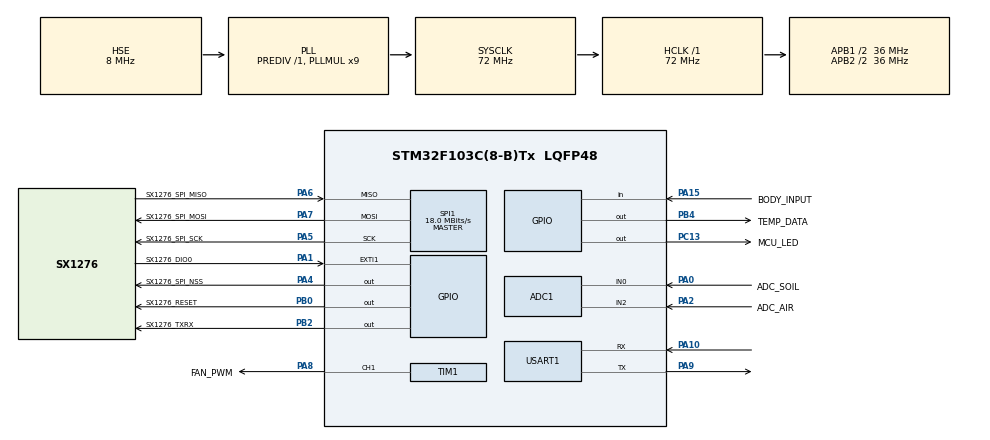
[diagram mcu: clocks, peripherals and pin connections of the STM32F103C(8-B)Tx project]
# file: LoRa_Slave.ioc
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ADC1.Channel-0\#ChannelRegularConversion=ADC_CHANNEL_0
ADC1.Channel-1\#ChannelRegularConversion=ADC_CHANNEL_2
ADC1.ContinuousConvMode=DISABLE
ADC1.DiscontinuousConvMode=ENABLE
ADC1.NbrOfConversion=2
ADC1.NbrOfConversionFlag=1
ADC1.Rank-0\#ChannelRegularConversion=1
ADC1.Rank-1\#ChannelRegularConversion=2
ADC1.SamplingTime-0\#ChannelRegularConversion=ADC_SAMPLETIME_1CYCLE_5
ADC1.SamplingTime-1\#ChannelRegularConversion=ADC_SAMPLETIME_1CYCLE_5
ADC1.master=1
Mcu.Family=STM32F1
Mcu.Name=STM32F103C(8-B)Tx
Mcu.Package=LQFP48
NVIC.EXTI1_IRQn=true\:0\:0\:false\:false\:true\:true\:true
NVIC.PriorityGroup=NVIC_PRIORITYGROUP_4
NVIC.USART1_IRQn=true\:1\:0\:true\:false\:true\:true\:true
PA0-WKUP.GPIO_Label=ADC_SOIL
PA0-WKUP.Signal=ADCx_IN0
PA1.GPIO_Label=SX1276_DIO0
PA1.Signal=GPXTI1
PA10.Mode=Asynchronous
PA10.Signal=USART1_RX
PA15.GPIO_Label=BODY_INPUT
PA15.Signal=GPIO_Input
PA2.GPIO_Label=ADC_AIR
PA2.Signal=ADCx_IN2
PA4.GPIO_Label=SX1276_SPI_NSS
PA4.Signal=GPIO_Output
PA5.GPIO_Label=SX1276_SPI_SCK
PA5.Mode=Full_Duplex_Master
PA5.Signal=SPI1_SCK
PA6.GPIO_Label=SX1276_SPI_MISO
PA6.Mode=Full_Duplex_Master
PA6.Signal=SPI1_MISO
PA7.GPIO_Label=SX1276_SPI_MOSI
PA7.Mode=Full_Duplex_Master
PA7.Signal=SPI1_MOSI
PA8.GPIO_Label=FAN_PWM
PA8.Signal=S_TIM1_CH1
PA9.Mode=Asynchronous
PA9.Signal=USART1_TX
PB0.GPIO_Label=SX1276_RESET
PB0.Signal=GPIO_Output
PB2.GPIO_Label=SX1276_TXRX
PB2.Signal=GPIO_Output
PB4.GPIO_Label=TEMP_DATA
PB4.Signal=GPIO_Output
PC13-TAMPER-RTC.GPIO_Label=MCU_LED
PC13-TAMPER-RTC.Signal=GPIO_Output
PD0-OSC_IN.Mode=HSE-External-Oscillator
PD0-OSC_IN.Signal=RCC_OSC_IN
PD1-OSC_OUT.Mode=HSE-External-Oscillator
PD1-OSC_OUT.Signal=RCC_OSC_OUT
ProjectManager.HeapSize=0x200
ProjectManager.StackSize=0x400
ProjectManager.TargetToolchain=MDK-ARM V5
RCC.ADCPresc=RCC_ADCPCLK2_DIV4
RCC.AHBFreq_Value=72000000
RCC.APB1CLKDivider=RCC_HCLK_DIV2
RCC.APB1Freq_Value=36000000
RCC.APB1TimFreq_Value=72000000
RCC.APB2CLKDivider=RCC_HCLK_DIV2
RCC.APB2Freq_Value=36000000
RCC.APB2TimFreq_Value=72000000
RCC.HCLKFreq_Value=72000000
RCC.PLLMUL=RCC_PLL_MUL9
RCC.PLLSourceVirtual=RCC_PLLSOURCE_HSE
RCC.SYSCLKFreq_VALUE=72000000
RCC.SYSCLKSource=RCC_SYSCLKSOURCE_PLLCLK
RCC.USBFreq_Value=72000000
SH.ADCx_IN0.0=ADC1_IN0,IN0
SH.ADCx_IN2.0=ADC1_IN2,IN2
SH.S_TIM1_CH1.0=TIM1_CH1,PWM Generation1 CH1
SPI1.BaudRatePrescaler=SPI_BAUDRATEPRESCALER_2
SPI1.CalculateBaudRate=18.0 MBits/s
SPI1.Direction=SPI_DIRECTION_2LINES
SPI1.Mode=SPI_MODE_MASTER
SPI1.VirtualType=VM_MASTER
TIM1.AutoReloadPreload=TIM_AUTORELOAD_PRELOAD_ENABLE
TIM1.Channel-PWM\ Generation1\ CH1=TIM_CHANNEL_1
TIM1.Period=499
TIM1.Prescaler=71
USART1.VirtualMode=VM_ASYNC
VP_SYS_VS_ND.Mode=No_Debug
VP_TIM1_VS_ClockSourceINT.Mode=Internal
board=custom

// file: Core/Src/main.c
/* USER CODE BEGIN Header */
/**
  ******************************************************************************
  * @file           : main.c
  * @brief          : Main program body
  ******************************************************************************
  * @attention
  *
  * <h2><center>&copy; Copyright (c) 2021 STMicroelectronics.
  * All rights reserved.</center></h2>
  *
  * This software component is licensed by ST under BSD 3-Clause license,
  * the "License"; You may not use this file except in compliance with the
  * License. You may obtain a copy of the License at:
  *                        opensource.org/licenses/BSD-3-Clause
  *
  ******************************************************************************
  */
/* USER CODE END Header */
#include "main.h"
#include "adc.h"
#include "spi.h"
#include "tim.h"
#include "usart.h"
#include "gpio.h"

/* USER CODE BEGIN Includes */
#include "stask.h"
#include "base_usart.h"
#include "sx1276_user.h"
#include "sx1276.h"
#include "stdio.h"
#include "Temperature.h"
/* USER CODE END Includes */

void SystemClock_Config(void);

int main(void)
{

  /* MCU Configuration--------------------------------------------------------*/

  /* Reset of all peripherals, Initializes the Flash interface and the Systick. */
  HAL_Init();

  /* Configure the system clock */
  SystemClock_Config();

  /* Initialize all configured peripherals */
  MX_GPIO_Init();
  MX_SPI1_Init();
  MX_USART1_UART_Init();
  MX_TIM1_Init();
  MX_ADC1_Init();
  /* USER CODE BEGIN 2 */
	HAL_ADCEx_Calibration_Start(&hadc1);    //ADC校准
	Base_Usart1_Init();
	HAL_TIM_PWM_Start(&htim1,TIM_CHANNEL_1);
	SX1276AppInit();
	uint8_t LoraVersion;
	LoraVersion = SX1276Read( REG_LR_VERSION );
	printf("Lora Version:%d!\r\n",LoraVersion);
	printf("Master Start!\r\n");
  /* USER CODE END 2 */

  /* Infinite loop */
  while (1)
  {
		spTaskScheduler();
  }
}

void SystemClock_Config(void)
{
  RCC_OscInitTypeDef RCC_OscInitStruct = {0};
  RCC_ClkInitTypeDef RCC_ClkInitStruct = {0};
  RCC_PeriphCLKInitTypeDef PeriphClkInit = {0};

  /** Initializes the RCC Oscillators according to the specified parameters
  * in the RCC_OscInitTypeDef structure.
  */
  RCC_OscInitStruct.OscillatorType = RCC_OSCILLATORTYPE_HSE;
  RCC_OscInitStruct.HSEState = RCC_HSE_ON;
  RCC_OscInitStruct.HSEPredivValue = RCC_HSE_PREDIV_DIV1;
  RCC_OscInitStruct.HSIState = RCC_HSI_ON;
  RCC_OscInitStruct.PLL.PLLState = RCC_PLL_ON;
  RCC_OscInitStruct.PLL.PLLSource = RCC_PLLSOURCE_HSE;
  RCC_OscInitStruct.PLL.PLLMUL = RCC_PLL_MUL9;
  if (HAL_RCC_OscConfig(&RCC_OscInitStruct) != HAL_OK)
  {
    Error_Handler();
  }
  /** Initializes the CPU, AHB and APB buses clocks
  */
  RCC_ClkInitStruct.ClockType = RCC_CLOCKTYPE_HCLK|RCC_CLOCKTYPE_SYSCLK
                              |RCC_CLOCKTYPE_PCLK1|RCC_CLOCKTYPE_PCLK2;
  RCC_ClkInitStruct.SYSCLKSource = RCC_SYSCLKSOURCE_PLLCLK;
  RCC_ClkInitStruct.AHBCLKDivider = RCC_SYSCLK_DIV1;
  RCC_ClkInitStruct.APB1CLKDivider = RCC_HCLK_DIV2;
  RCC_ClkInitStruct.APB2CLKDivider = RCC_HCLK_DIV2;

  if (HAL_RCC_ClockConfig(&RCC_ClkInitStruct, FLASH_LATENCY_2) != HAL_OK)
  {
    Error_Handler();
  }
  PeriphClkInit.PeriphClockSelection = RCC_PERIPHCLK_ADC;
  PeriphClkInit.AdcClockSelection = RCC_ADCPCLK2_DIV4;
  if (HAL_RCCEx_PeriphCLKConfig(&PeriphClkInit) != HAL_OK)
  {
    Error_Handler();
  }
}

/* USER CODE BEGIN 4 */
#ifdef __GNUC__
/* With GCC/RAISONANCE, small printf (option LD Linker->Libraries->Small printf
   set to 'Yes') calls __io_putchar() */
#define PUTCHAR_PROTOTYPE int __io_putchar(int ch)
#else
#define PUTCHAR_PROTOTYPE int fputc(int ch, FILE *f)
#endif
PUTCHAR_PROTOTYPE
{
    HAL_UART_Transmit(&huart1, (uint8_t *)&ch, 1, 0xFF);
    return ch;
}
/* USER CODE END 4 */

void Error_Handler(void)
{
}

/************************ (C) COPYRIGHT STMicroelectronics *****END OF FILE****/
